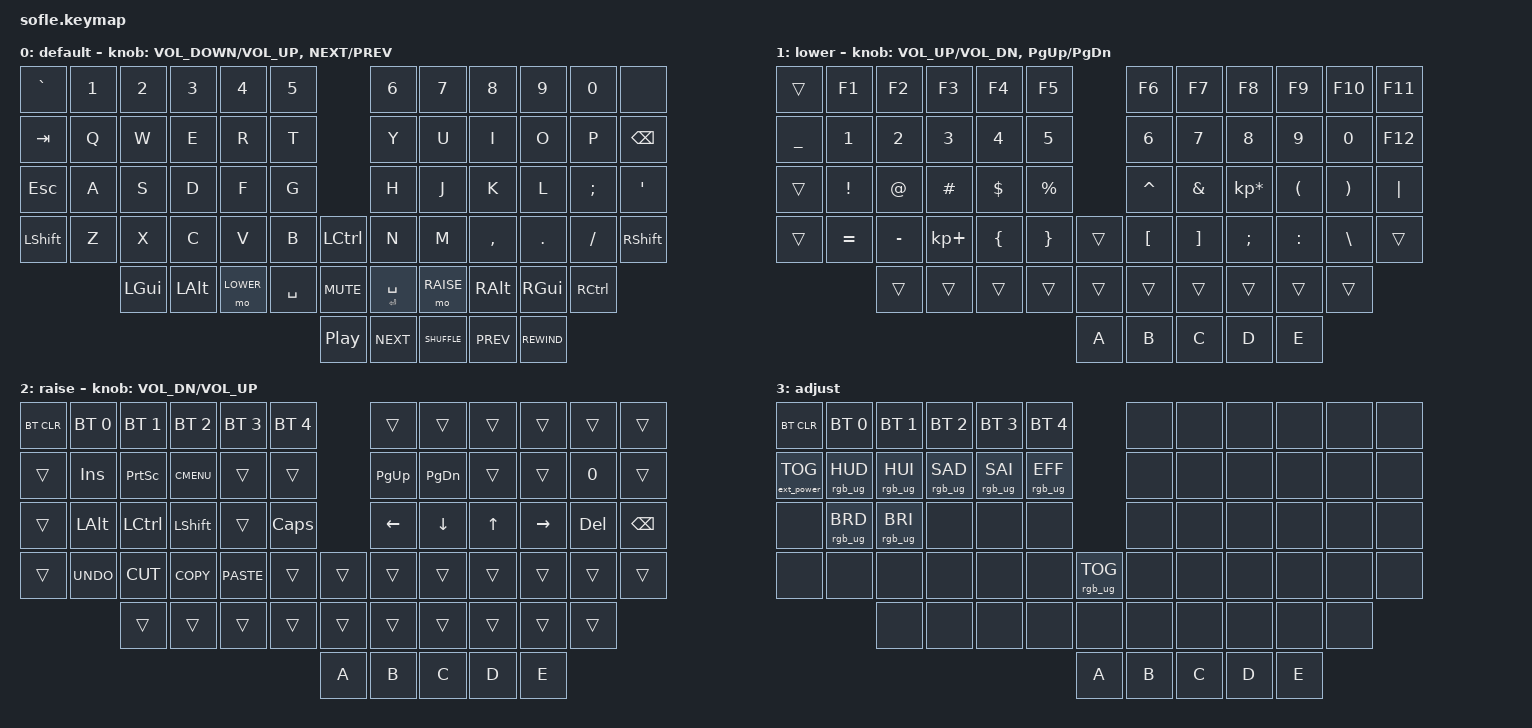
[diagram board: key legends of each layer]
/*
 * Copyright (c) 2020 The ZMK Contributors
 *
 * SPDX-License-Identifier: MIT
 */

#include <behaviors.dtsi>
#include <dt-bindings/zmk/keys.h>
#include <dt-bindings/zmk/bt.h>
#include <dt-bindings/zmk/rgb.h>
#include <dt-bindings/zmk/ext_power.h>

#define BASE 0
#define LOWER 1
#define RAISE 2
#define ADJUST 3

/ {
    behaviors {
        mt_impl: mod-tap-by-hold-tap {
            compatible = "zmk,behavior-hold-tap";
            label = "MOD_TAP_BY_HOLD_TAP";
            #binding-cells = <2>;
            tapping-term-ms = <150>;
            quick-tap-ms = <0>;
            flavor = "tap-preferred";
            bindings = <&kp>, <&kp>;
        };
    };

   // Activate ADJUST layer by pressing raise and lower
    conditional_layers {
        compatible = "zmk,conditional-layers";
        adjust_layer {
            if-layers = <LOWER RAISE>;
            then-layer = <ADJUST>;
        };
    };

    keymap {
        compatible = "zmk,keymap";

        default_layer {
            label = "default";
// ------------------------------------------------------------------------------------------------------------
// |   `   |  1  |  2  |  3   |  4   |  5   |                   |  6   |  7    |  8    |  9   |   0   |       |
// |  ESC  |  Q  |  W  |  E   |  R   |  T   |                   |  Y   |  U    |  I    |  O   |   P   | BKSPC |
// |  TAB  |  A  |  S  |  D   |  F   |  G   |                   |  H   |  J    |  K    |  L   |   ;   |   '   |
// | SHIFT |  Z  |  X  |  C   |  V   |  B   |  space  |  |       |  N   |  M    |  ,    |  .   |   /   | SHIFT |
//               | mute | ctrl  | win | alt|  lower |  | SPACE | RAISE| CTRL  | ALT   | GUI  |
            bindings = <
&kp GRAVE &kp N1 &kp N2   &kp N3   &kp N4    &kp N5                           &kp N6 &kp N7    &kp N8    &kp N9   &kp N0   &none
&kp TAB   &kp Q  &kp W    &kp E    &kp R     &kp T                            &kp Y  &kp U     &kp I     &kp O    &kp P    &kp BSPC
&kp ESC   &kp A  &kp S    &kp D    &kp F     &kp G                            &kp H  &kp J     &kp K     &kp L    &kp SEMI &kp SQT
&kp LSHFT &kp Z  &kp X    &kp C    &kp V     &kp B      &kp LCTRL            &kp N  &kp M     &kp COMMA &kp DOT  &kp FSLH &kp RSHFT
                 &kp LGUI &kp LALT &mo LOWER  &kp SPACE  &kp C_MUTE   &mt_impl ENTER SPACE  &mo RAISE  &kp RALT &kp RGUI  &kp RCTRL
                                                                     &kp C_PLAY_PAUSE              &kp C_NEXT &kp C_SHUFFLE &kp C_PREV &kp C_REWIND
            >;

            sensor-bindings =
                <&inc_dec_kp C_VOLUME_DOWN C_VOLUME_UP>,
                <&inc_dec_kp C_NEXT C_PREV>;
        };

        lower_layer {
            label = "lower";
// TODO: Some binds are waiting for shifted keycode support.
// ------------------------------------------------------------------------------------------------------------
// |       |  F1 |  F2 |  F3  |  F4  |  F5  |                   |  F6  |  F7   |  F8   |  F9  |  F10  |  F11  |
// |   `   |  1  |  2  |  3   |  4   |  5   |                   |  6   |  7    |  8    |  9   |   0   |  F12  |
// |       |  !  |  @  |  #   |  $   |  %   |                   |  ^   |  &    |  *    |  (   |   )   |   |   |
// |       |  =  |  -  |  +   |  {   |  }   |        |  |       |  [   |  ]    |  ;    |  :   |   \   |       |
//               |     |      |      |      |        |  |       |      |       |       |      |
            bindings = <
&trans    &kp F1    &kp F2    &kp F3      &kp F4    &kp F5                    &kp F6    &kp F7   &kp F8          &kp F9    &kp F10   &kp F11
&kp UNDER &kp N1    &kp N2    &kp N3      &kp N4    &kp N5                    &kp N6    &kp N7   &kp N8          &kp N9    &kp N0    &kp F12
&trans    &kp EXCL  &kp AT    &kp HASH    &kp DLLR  &kp PRCNT                 &kp CARET &kp AMPS &kp KP_MULTIPLY &kp LPAR  &kp RPAR  &kp PIPE
&trans    &kp EQUAL &kp MINUS &kp KP_PLUS &kp LBRC  &kp RBRC   &trans         &kp LBKT  &kp RBKT &kp SEMI        &kp COLON &kp BSLH  &trans
                    &trans    &trans      &trans    &trans     &trans &trans  &trans    &trans   &trans          &trans
                                                                      &kp A      &kp B  &kp C &kp D  &kp E
            >;

            sensor-bindings = <&inc_dec_kp C_VOL_UP C_VOL_DN &inc_dec_kp PG_UP PG_DN>;
        };

        raise_layer {
            label = "raise";
// ------------------------------------------------------------------------------------------------------------
// | BTCLR | BT1  | BT2  |  BT3  |  BT4  |  BT5 |                |      |      |       |      |       |       |
// |       | INS  | PSCR | GUI   |       |      |                | PGUP |      |   ^   |      |       |       |
// |       | ALT  | CTRL | SHIFT |       | CAPS |                | PGDN |   <- |   v   |  ->  |  DEL  | BKSPC |
// |       | UNDO | CUT  | COPY  | PASTE |      |      |  |      |      |      |       |      |       |       |
//                |      |       |       |      |      |  |      |      |      |       |      |
            bindings = <
&bt BT_CLR &bt BT_SEL 0 &bt BT_SEL 1 &bt BT_SEL 2 &bt BT_SEL 3 &bt BT_SEL 4                  &trans    &trans    &trans   &trans    &trans  &trans
&trans     &kp INS      &kp PSCRN    &kp K_CMENU  &trans       &trans                        &kp PG_UP &kp PG_DN    &trans   &trans    &kp N0  &trans
&trans     &kp LALT     &kp LCTRL    &kp LSHFT    &trans       &kp CLCK                      &kp LEFT &kp DOWN  &kp UP &kp RIGHT &kp DEL &kp BSPC
&trans     &kp K_UNDO   &kp K_CUT    &kp K_COPY   &kp K_PASTE  &trans        &trans          &trans    &trans    &trans   &trans    &trans  &trans
                        &trans       &trans       &trans       &trans        &trans  &trans  &trans    &trans    &trans   &trans
                                                                                     &kp A      &kp B  &kp C &kp D  &kp E
            >;

            sensor-bindings = <&inc_dec_kp C_VOL_DN C_VOL_UP>;
        };

        adjust_layer {
// ----------------------------------------------------------------------------------------------------------------------------
// | BTCLR  |  BT1    |  BT2    |   BT3   |   BT4   |   BT5   |                  |      |      |       |      |       |       |
// | EXTPWR | RGB_HUD | RGB_HUI | RGB_SAD | RGB_SAI | RGB_EFF |                  |      |      |       |      |       |       |
// |        | RGB_BRD | RGB_BRI |         |         |         |                  |      |      |       |      |       |       |
// |        |         |         |         |         |         | RGB_TOG | |      |      |      |       |      |       |       |
//                    |         |         |         |         |         | |      |      |      |       |      |
            label = "adjust";
            bindings = <
&bt BT_CLR        &bt BT_SEL 0    &bt BT_SEL 1    &bt BT_SEL 2    &bt BT_SEL 3    &bt BT_SEL 4                            &none &none &none &none &none &none
&ext_power EP_TOG &rgb_ug RGB_HUD &rgb_ug RGB_HUI &rgb_ug RGB_SAD &rgb_ug RGB_SAI &rgb_ug RGB_EFF                         &none &none &none &none &none &none
&none             &rgb_ug RGB_BRD &rgb_ug RGB_BRI &none           &none           &none                                   &none &none &none &none &none &none
&none             &none           &none           &none           &none           &none            &rgb_ug RGB_TOG        &none &none &none &none &none &none
                                  &none           &none           &none           &none            &none           &none  &none &none &none &none
                                                                                                                    &kp A      &kp B  &kp C &kp D  &kp E
            >;
        };

    };
};
